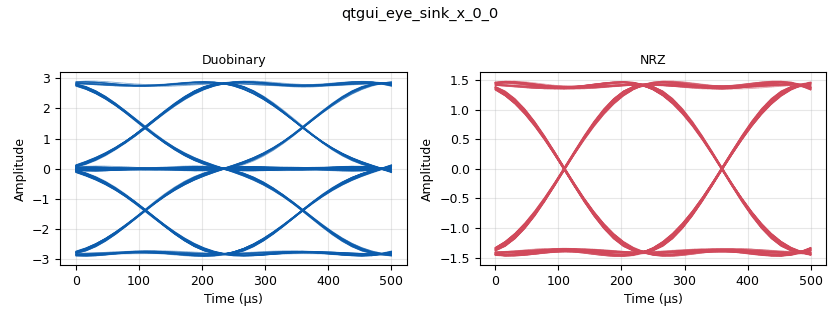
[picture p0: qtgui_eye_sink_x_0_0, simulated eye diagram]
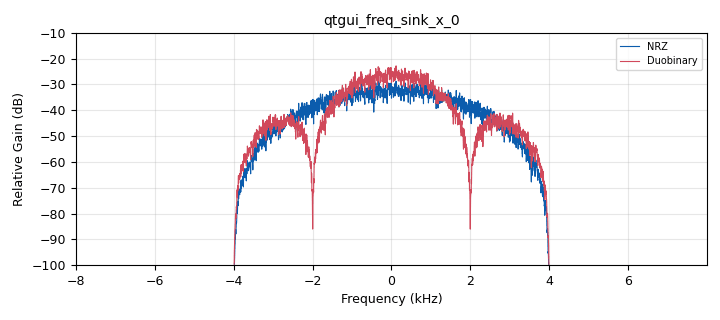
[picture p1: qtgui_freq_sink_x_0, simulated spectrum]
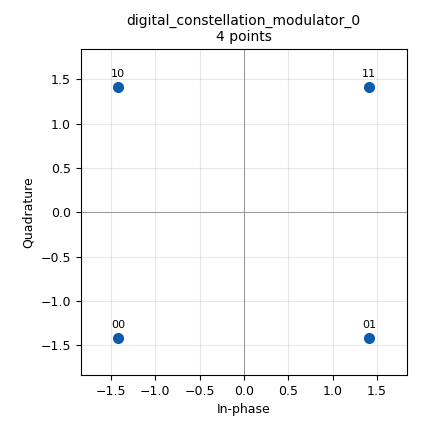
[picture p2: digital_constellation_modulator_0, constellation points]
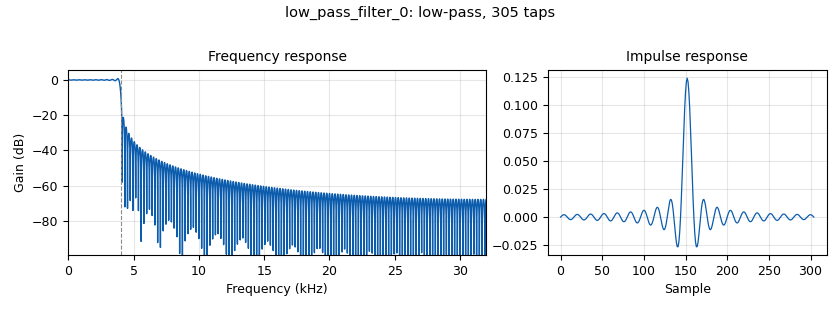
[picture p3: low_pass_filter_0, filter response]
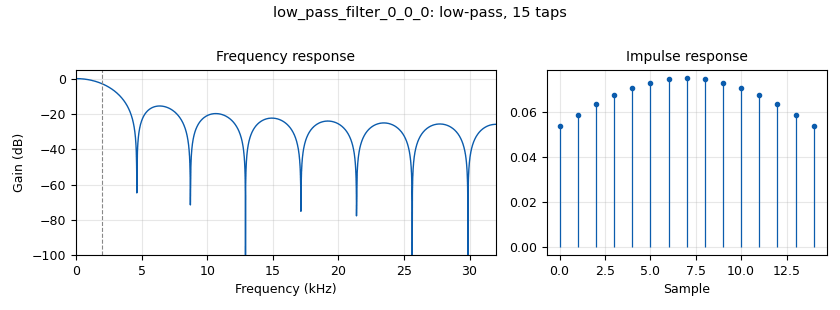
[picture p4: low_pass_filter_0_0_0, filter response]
options:
  parameters:
    author: Edson Porto da Silva
    copyright: '2023'
    generate_options: qt_gui
    id: Labo5_3
    output_language: python
    title: 'Estudo de caso em códigos de linha: NRZ vs Doubinário'
  states: {}

blocks:
- name: BW
  id: variable_qtgui_range
  parameters:
    label: Largura de banda do canal (kHz)
    start: (samp_rate/sps)*0.25/1000
    step: '0.1'
    stop: (samp_rate/sps)*2/1000
    value: (samp_rate/sps)/1000
  states: {}
- name: RRCrolloff
  id: variable
  parameters:
    value: '1'
  states: {}
- name: constelacao
  id: variable_constellation
  parameters:
    precision: '8'
    type: qpsk
  states: {}
- name: samp_rate
  id: variable
  parameters:
    value: '64000'
  states: {}
- name: sps
  id: variable
  parameters:
    value: '16'
  states: {}
- name: analog_random_source_x_1
  id: analog_random_source_x
  parameters:
    max: '255'
    min: '0'
    num_samps: '10000'
    repeat: 'True'
    type: byte
  states: {}
- name: blocks_add_xx_0
  id: blocks_add_xx
  parameters:
    type: complex
  states: {}
- name: blocks_complex_to_real_0
  id: blocks_complex_to_real
  parameters: {}
  states: {}
- name: blocks_complex_to_real_0_0
  id: blocks_complex_to_real
  parameters: {}
  states: {}
- name: blocks_delay_0
  id: blocks_delay
  parameters:
    delay: sps
    type: complex
  states: {}
- name: blocks_throttle_0
  id: blocks_throttle
  parameters:
    samples_per_second: samp_rate
    type: complex
  states: {}
- name: digital_constellation_modulator_0
  id: digital_constellation_modulator
  parameters:
    constellation: constelacao
    differential: 'False'
    excess_bw: RRCrolloff
    samples_per_symbol: sps
  states: {}
- name: low_pass_filter_0
  id: low_pass_filter
  parameters:
    beta: '1000'
    cutoff_freq: BW*1000
    gain: '1'
    interp: '1'
    samp_rate: samp_rate
    type: interp_fir_filter_ccf
    width: BW*0.05*1000
    win: window.WIN_RECTANGULAR
  states: {}
- name: low_pass_filter_0_0
  id: low_pass_filter
  parameters:
    beta: '1000'
    cutoff_freq: BW*1000
    gain: '1'
    interp: '1'
    samp_rate: samp_rate
    type: interp_fir_filter_ccf
    width: BW*0.05*1000
    win: window.WIN_RECTANGULAR
  states: {}
- name: low_pass_filter_0_0_0
  id: low_pass_filter
  parameters:
    beta: '100'
    cutoff_freq: samp_rate/sps/2
    gain: '1'
    interp: '1'
    samp_rate: samp_rate
    type: interp_fir_filter_ccf
    width: (samp_rate/sps)
    win: window.WIN_RECTANGULAR
  states: {}
- name: low_pass_filter_0_0_0_0
  id: low_pass_filter
  parameters:
    beta: '100'
    cutoff_freq: samp_rate/sps/2
    gain: '1'
    interp: '1'
    samp_rate: samp_rate
    type: interp_fir_filter_ccf
    width: (samp_rate/sps)
    win: window.WIN_RECTANGULAR
  states: {}
- name: qtgui_eye_sink_x_0_0
  id: qtgui_eye_sink_x
  parameters:
    autoscale: 'True'
    color2: red
    ctrlpanel: 'True'
    entags: 'False'
    grid: 'True'
    gui_hint: 0,0,4,2
    label1: Duobinary
    label2: NRZ
    nconnections: '2'
    samp_per_symbol: sps
    size: 1024*8
    srate: samp_rate
    tr_level: '1'
    tr_mode: qtgui.TRIG_MODE_NORM
    type: float
  states: {}
- name: qtgui_freq_sink_x_0
  id: qtgui_freq_sink_x
  parameters:
    average: '0.2'
    bw: samp_rate/4
    color1: '"red"'
    color2: '"blue"'
    fc: '0'
    fftsize: '4096'
    grid: 'True'
    gui_hint: 0,2,4,2
    label1: NRZ
    label2: Duobinary
    nconnections: '2'
    type: complex
    ymax: '-10'
    ymin: '-100'
  states: {}
- name: rational_resampler_xxx_0
  id: rational_resampler_xxx
  parameters:
    decim: '4'
    interp: '1'
    type: ccc
  states: {}
- name: rational_resampler_xxx_0_0
  id: rational_resampler_xxx
  parameters:
    decim: '4'
    interp: '1'
    type: ccc
  states: {}

connections:
- [analog_random_source_x_1, '0', digital_constellation_modulator_0, '0']
- [blocks_add_xx_0, '0', low_pass_filter_0_0_0, '0']
- [blocks_complex_to_real_0, '0', qtgui_eye_sink_x_0_0, '1']
- [blocks_complex_to_real_0_0, '0', qtgui_eye_sink_x_0_0, '0']
- [blocks_delay_0, '0', blocks_add_xx_0, '1']
- [blocks_throttle_0, '0', blocks_complex_to_real_0_0, '0']
- [digital_constellation_modulator_0, '0', blocks_add_xx_0, '0']
- [digital_constellation_modulator_0, '0', blocks_delay_0, '0']
- [digital_constellation_modulator_0, '0', low_pass_filter_0_0_0_0, '0']
- [low_pass_filter_0, '0', blocks_complex_to_real_0, '0']
- [low_pass_filter_0, '0', rational_resampler_xxx_0, '0']
- [low_pass_filter_0_0, '0', blocks_throttle_0, '0']
- [low_pass_filter_0_0, '0', rational_resampler_xxx_0_0, '0']
- [low_pass_filter_0_0_0, '0', low_pass_filter_0_0, '0']
- [low_pass_filter_0_0_0_0, '0', low_pass_filter_0, '0']
- [rational_resampler_xxx_0, '0', qtgui_freq_sink_x_0, '0']
- [rational_resampler_xxx_0_0, '0', qtgui_freq_sink_x_0, '1']

metadata:
  file_format: 1
  grc_version: 3.10.6.0
